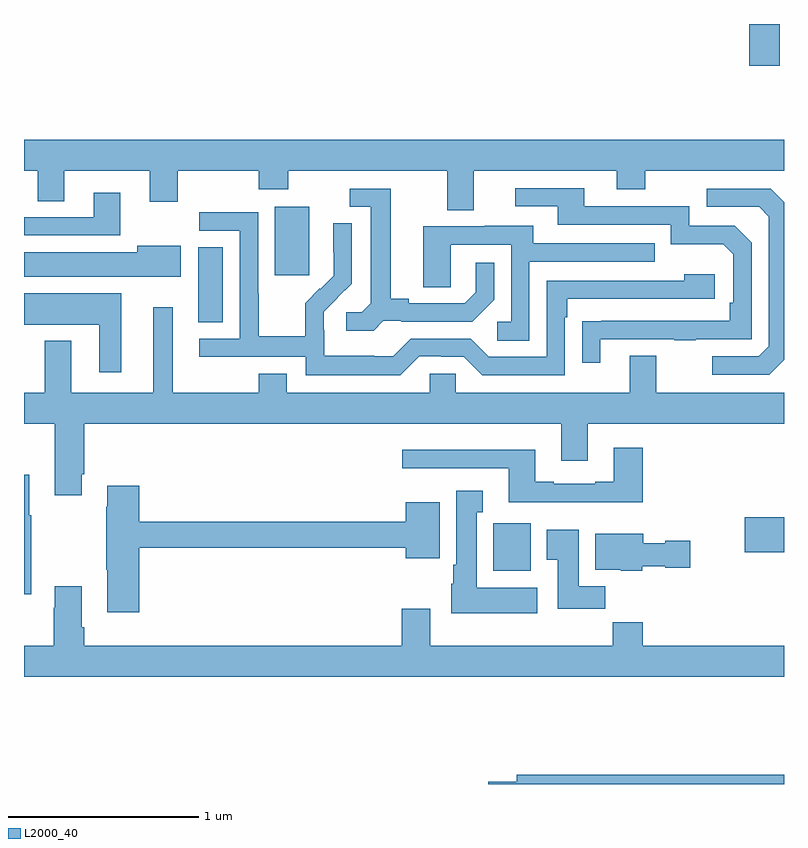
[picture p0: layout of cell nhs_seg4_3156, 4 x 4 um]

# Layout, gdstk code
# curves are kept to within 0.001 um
import gdstk
lib = gdstk.Library(unit=1e-6, precision=1e-09)
def R(c, l, rs):  # rectangles x0, y0, x1, y1
    for r in rs: c.add(gdstk.rectangle(r[:2], r[2:], *l))
def P(c, l, *ps):  # polygons
    for p in ps: c.add(gdstk.Polygon(p, *l))
L2000_40 = (2000, 40)

nhs_seg4_3156 = lib.new_cell('nhs_seg4_3156')
R(nhs_seg4_3156, L2000_40, [(279.471,820.022,279.667,820.272), (280.794,820.121,281,820.304), (277.916,821.329,278.047,821.726), (278.321,821.577,278.5,821.938), (280.817,822.681,280.977,822.9)])
P(nhs_seg4_3156, L2000_40, [(279.367,822.128),(280.121,822.128),(280.121,822.029),(280.269,822.029),(280.269,822.128),(281,822.128),(281,822.292),(277,822.292),(277,822.128),(277.073,822.128),(277.073,821.968),(277.213,821.968),(277.213,822.128),(277.661,822.128),(277.661,821.964),(277.809,821.964),(277.809,822.128),(278.236,822.128),(278.236,822.029),(278.391,822.029),(278.391,822.128),(279.227,822.128),(279.227,821.92),(279.367,821.92)],
  [(280.033,821.241),(280.423,821.241),(280.423,821.236),(280.535,821.236),(280.535,821.241),(280.83,821.241),(280.83,821.748),(280.74,821.838),(280.5,821.838),(280.5,821.94),(279.949,821.94),(279.949,822.036),(279.585,822.036),(279.585,821.94),(279.809,821.94),(279.809,821.844),(280.404,821.844),(280.404,821.741),(280.681,821.741),(280.734,821.688),(280.734,821.434),(280.714,821.434),(280.714,821.337),(279.937,821.336),(279.937,821.118),(280.033,821.118)],
  [(281,821.132),(281,821.962),(280.929,822.033),(280.593,822.033),(280.593,821.937),(280.869,821.937),(280.92,821.886),(280.92,821.205),(280.866,821.151),(280.623,821.151),(280.623,821.055),(280.923,821.055)],
  [(278.892,821.337),(278.986,821.337),(278.986,821.334),(279.358,821.334),(279.474,821.45),(279.474,821.644),(279.377,821.644),(279.377,821.487),(279.32,821.43),(279.025,821.43),(279.025,821.453),(278.929,821.453),(278.929,822.033),(278.715,822.033),(278.715,821.937),(278.825,821.937),(278.825,821.429),(278.778,821.382),(278.697,821.382),(278.697,821.285),(278.84,821.285)],
  [(277.507,822.013),(277.367,822.013),(277.367,821.883),(277,821.883),(277,821.787),(277.507,821.787)],
  [(279.081,821.151),(279.197,821.151),(279.197,821.148),(279.315,821.148),(279.411,821.052),(279.846,821.052),(279.846,821.357),(279.859,821.357),(279.859,821.454),(280.636,821.454),(280.636,821.584),(280.475,821.584),(280.475,821.55),(279.75,821.55),(279.75,821.148),(279.447,821.148),(279.351,821.244),(279.036,821.244),(278.943,821.151),(278.843,821.151),(278.843,821.155),(278.58,821.155),(278.58,821.289),(278.578,821.289),(278.578,821.386),(278.724,821.534),(278.724,821.852),(278.628,821.852),(278.628,821.698),(278.63,821.698),(278.63,821.576),(278.559,821.505),(278.556,821.508),(278.479,821.431),(278.479,821.257),(278.235,821.257),(278.235,821.48),(278.232,821.48),(278.232,821.91),(277.923,821.91),(277.923,821.811),(278.136,821.811),(278.136,821.244),(277.923,821.244),(277.923,821.148),(278.484,821.148),(278.484,821.051),(278.981,821.051)],
  [(279.66,821.649),(280.319,821.649),(280.319,821.745),(279.679,821.745),(279.679,821.839),(279.425,821.839),(279.425,821.835),(279.101,821.835),(279.101,821.515),(279.246,821.515),(279.246,821.739),(279.564,821.739),(279.564,821.334),(279.492,821.334),(279.492,821.233),(279.66,821.233)],
  [(277.825,821.734),(277.595,821.734),(277.595,821.698),(277,821.698),(277,821.57),(277.825,821.57)],
  [(277.513,821.482),(277,821.482),(277,821.318),(277.397,821.318),(277.397,821.067),(277.513,821.067)],
  [(277.303,820.531),(277.316,820.531),(277.316,820.796),(279.827,820.796),(279.827,820.602),(279.967,820.602),(279.967,820.796),(281,820.796),(281,820.96),(280.327,820.96),(280.327,821.155),(280.187,821.155),(280.187,820.96),(279.273,820.96),(279.273,821.058),(279.135,821.058),(279.135,820.96),(278.383,820.96),(278.383,821.059),(278.236,821.059),(278.236,820.96),(277.783,820.96),(277.783,821.41),(277.679,821.41),(277.679,820.96),(277.249,820.96),(277.249,821.233),(277.109,821.233),(277.109,820.96),(277,820.96),(277,820.796),(277.163,820.796),(277.163,820.419),(277.303,820.419)],
  [(280.256,820.669),(280.103,820.669),(280.103,820.492),(280.007,820.492),(280.007,820.479),(279.787,820.479),(279.787,820.492),(279.691,820.492),(279.691,820.66),(278.991,820.66),(278.991,820.563),(279.551,820.563),(279.551,820.382),(280.256,820.382)],
  [(277.039,820.315),(277.027,820.315),(277.027,820.528),(277,820.528),(277,819.899),(277.039,819.899)],
  [(277.607,820.144),(279.008,820.144),(279.008,820.088),(279.187,820.088),(279.187,820.384),(279.008,820.384),(279.008,820.28),(277.607,820.28),(277.607,820.471),(277.439,820.471),(277.439,820.358),(277.432,820.358),(277.432,820.027),(277.439,820.027),(277.439,819.804),(277.607,819.804)],
  [(279.7,819.934),(279.382,819.934),(279.382,820.331),(279.415,820.331),(279.415,820.444),(279.275,820.444),(279.275,820.054),(279.26,820.054),(279.26,819.954),(279.248,819.954),(279.248,819.8),(279.7,819.8)],
  [(280.058,819.94),(279.919,819.94),(279.919,820.237),(279.752,820.237),(279.752,820.081),(279.809,820.081),(279.809,819.822),(280.058,819.822)],
  [(280.254,820.046),(280.374,820.046),(280.374,820.039),(280.507,820.039),(280.507,820.181),(280.374,820.181),(280.374,820.168),(280.258,820.168),(280.258,820.216),(280.007,820.216),(280.007,820.028),(280.14,820.028),(280.14,820.022),(280.254,820.022)],
  [(281,819.628),(280.256,819.628),(280.256,819.752),(280.099,819.752),(280.099,819.628),(279.139,819.628),(279.139,819.823),(278.987,819.823),(278.987,819.628),(277.316,819.628),(277.316,819.724),(277.303,819.724),(277.303,819.94),(277.163,819.94),(277.163,819.827),(277.156,819.827),(277.156,819.628),(277,819.628),(277,819.464),(281,819.464)],
  [(281,818.948),(279.593,818.948),(279.593,818.912),(279.444,818.912),(279.444,818.9),(281,818.9)])

lib.write_gds('nhs_seg4_3156.gds')
